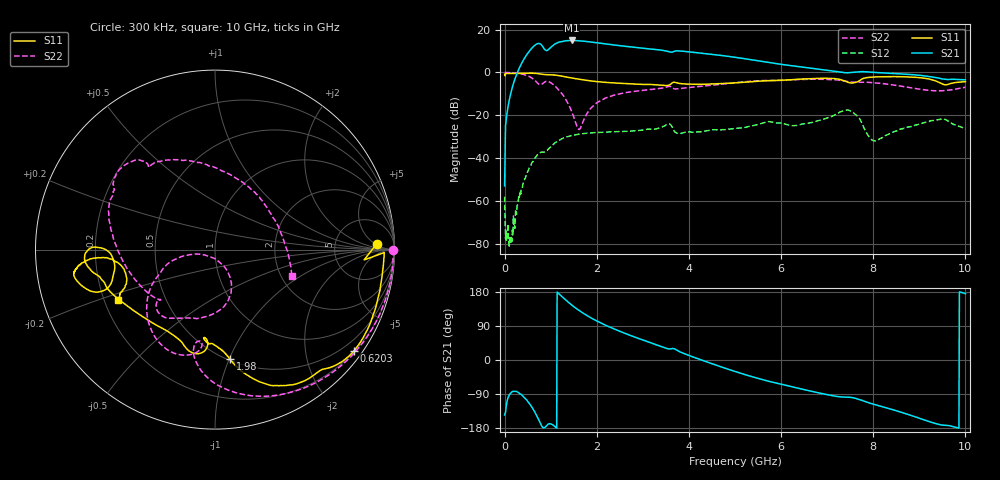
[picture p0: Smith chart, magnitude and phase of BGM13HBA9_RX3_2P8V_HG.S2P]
!Agilent Technologies,E5071C,MY46316587,B.13.01
!Date: Thu Dec 07 13:30:11 2017
!Data & Calibration Information:
!Freq	S11:SOLT2(ON)	S21:SOLT2(ON)	S12:SOLT2(ON)	S22:SOLT2(ON)
!PortZ  Port1:50+j0  Port2:50+j0
!Above PortZ is port z conversion or system Z0 setting when saving the data.
!When reading, reference impedance value at option line is always used.
# Hz S RI R 50
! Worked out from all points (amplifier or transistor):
!   1001 points, 300 kHz to 10 GHz, reference 50 ohm
!   highest |S21| = 14.9 dB at 1.46 GHz (marker M1)
!   |S21| within 3 dB of that: 1.014 GHz to 2.73 GHz (1.716 GHz wide, 91.7 % of centre)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
!   unconditionally stable (mu >= 1): start of sweep to 6.717 GHz; 7.312 GHz to end of sweep
!   at 1.66 GHz: K = 1.40, MAG = 17.9 dB, |S12| = -28.7 dB
!   at 5 GHz: K = 1.77, MAG = 11.5 dB, |S12| = -26.1 dB
!   at 10 GHz: K = 7.74, MAG = -0.4 dB, |S12| = -26.4 dB
!   lowest NFmin = 0.74 dB at 1.8 GHz
!   S11 on the Smith chart (normalised r, x): 300 kHz: 17, +6; 620.3 MHz: 0.22, -3.05; 1.98 GHz: 0.51, -1.01; 10 GHz: 0.26, -0.23
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300000  0.9005 0.0316  -0.00185 -0.0013  -0.000658 0.00108  0.9935 -0.00096
1.302961e8  0.9351 -0.1168  0.0122 -0.3104  -4e-06 -9.98e-05  0.9274 -0.3374
3.902883e8  0.8846 -0.3552  -0.1388 -1.798  -0.0021 -0.000884  0.4527 -0.7858
5.102847e8  0.8387 -0.4657  -1.002 -2.693  -0.00502 -0.000714  0.1638 -0.808
6.202814e8  0.7738 -0.5643  -2.55 -3.051  -0.00836 0.00116  -0.0539 -0.7013
7.602772e8  0.6532 -0.6523  -4.504 -1.335  -0.0113 0.00704  -0.0954 -0.5108
8.402748e8  0.5955 -0.6685  -3.805 -0.078  -0.0103 0.00907  -0.0883 -0.5612
9.202724e8  0.554 -0.6965  -3.211 -0.4428  -0.0113 0.00999  -0.2337 -0.5747
1.070268e9  0.446 -0.7499  -4.388 -0.5126  -0.0142 0.0159  -0.3807 -0.3341
1.250262e9  0.3118 -0.7569  -5.122 1.218  -0.0127 0.0256  -0.2934 -0.1118
1.460256e9  0.2006 -0.7118  -4.546 3.211  -0.00567 0.0332  -0.1175 -0.025
1.67025e9  0.1344 -0.6656  -3.2 4.36  0.00144 0.037  0.0106 -0.0582
1.980241e9  0.0831 -0.6095  -1.22 4.799  0.0107 0.0381  0.0859 -0.1651
2.600222e9  0.0246 -0.5508  1.336 3.862  0.021 0.0366  0.0326 -0.3326
3.3402e9  -0.0591 -0.5023  2.659 2.072  0.0302 0.0398  -0.1688 -0.3805
4.100177e9  -0.2456 -0.4676  2.921 0.3869  0.0298 0.0272  -0.3998 -0.2169
5.00015e9  -0.461 -0.3346  1.945 -1.132  0.0332 0.0366  -0.5683 0.0735
6.6701e9  -0.7115 -0.0903  0.1565 -1.236  0.0537 0.0419  -0.5411 0.4331
7.460076e9  -0.5815 -0.0231  -0.1392 -0.9722  0.131 -0.0153  -0.3746 0.4752
7.980061e9  -0.7547 -0.1897  -0.4394 -0.9091  0.024 -0.0102  -0.3015 0.4919
8.34005e9  -0.7851 -0.148  -0.5914 -0.75  0.034 0.0128  -0.1702 0.4978
1e10  -0.5377 -0.2791  -0.6707 0.0585  0.0319 -0.0354  0.4283 -0.1447
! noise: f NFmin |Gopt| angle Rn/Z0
1.8e+09  0.7413  0.5188  59.76  0.1726
1.9e+09  0.7677  0.4311  62.89  0.1854
2e+09  0.7961  0.3486  66.06  0.1903
2.1e+09  0.8463  0.3916  69.35  0.2122
2.2e+09  0.8887  0.4246  73.43  0.1885
2.3e+09  0.9054  0.4303  75.17  0.1916
2.4e+09  0.9264  0.4207  79.23  0.1921
2.5e+09  0.9334  0.4489  82.23  0.1962
2.6e+09  0.9445  0.4879  83.99  0.196
2.7e+09  0.972  0.5005  80.92  0.2045
